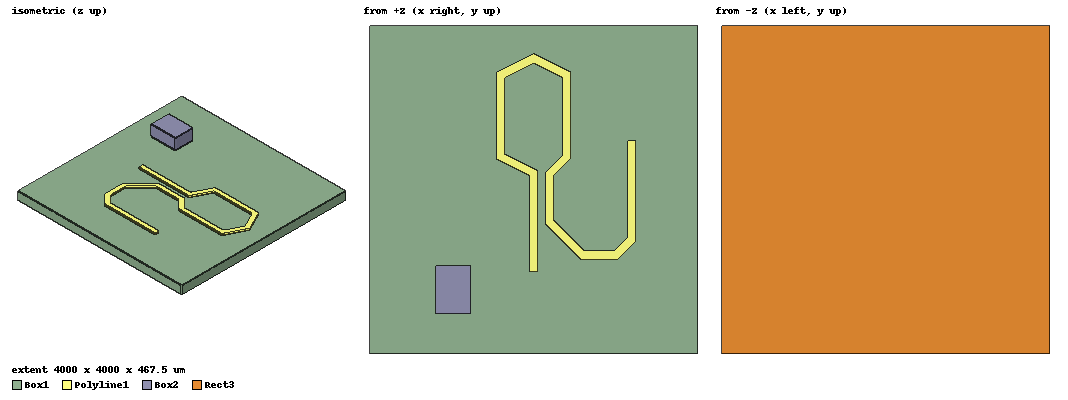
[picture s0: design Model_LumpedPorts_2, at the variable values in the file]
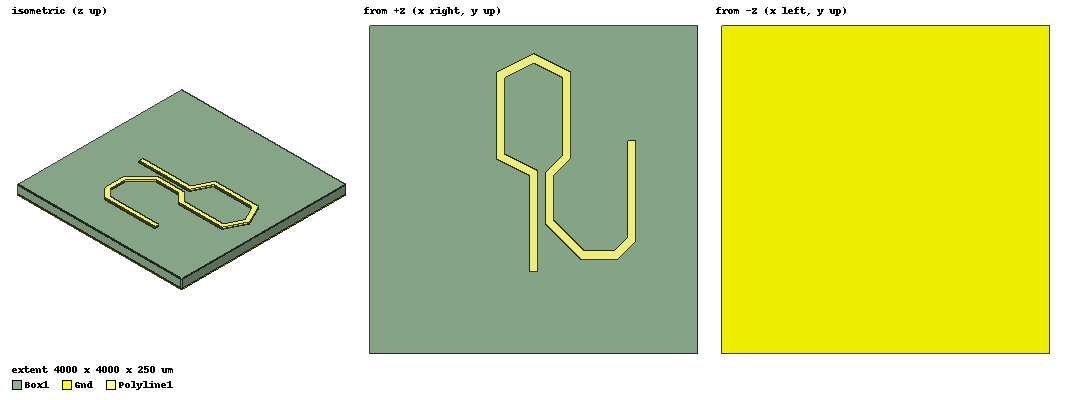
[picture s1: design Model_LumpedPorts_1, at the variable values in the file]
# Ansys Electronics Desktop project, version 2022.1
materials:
  vacuum: permittivity=1
  copper: permeability=0.999991 conductivity=58000000
  FR4_epoxy: permittivity=4.4 dielectric_loss_tangent=0.02
  silver: permeability=0.99998 conductivity=61000000

design Model_LumpedPorts_2 (HFSS, DrivenTerminal, model units um)
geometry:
  Polyline1 [copper] = polyline(z=0um, xy in um: (0, 0) (0, 1200) (-400, 1400) (-400, 2400) (0, 2600) (400, 2400) (400, 1400) (200, 1200) (200, 600) (600, 200) (1000, 200) (1200, 400) (1200, 1600), section rectangle width=100um height=25um)
  Box1 [FR4_epoxy] = box(corner=(2000um, 3000um, -12.5um), size=(-4000um, -4000um, -200um))
  Rect1 = rectangle(corner=(1250um, 1600um, -12.5um), z_size=-200um, x_size=-100um)
  Rect2 = rectangle(corner=(-50um, 0um, -12.5um), z_size=-200um, x_size=100um)
  Rect3 = rectangle(corner=(2000um, -1000um, -212.5um), x_size=-4000um, y_size=4000um)
  Box2 [silver] = box(corner=(-1200um, -515um, 0um), size=(430um, 590um, 255um))
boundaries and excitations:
  PerfE1: Perfect E Objects=Rect3
  reference conductors: Rect3
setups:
  Setup1: HfssDriven Frequency=5GHz MaxDeltaE=0.1 MaximumPasses=6 MinimumPasses=1 MinimumConvergedPasses=1 PercentRefinement=30 BasisOrder=1 DrivenSolverType="Direct Solver"

design Model_LumpedPorts_1 (HFSS, DrivenTerminal, model units um)
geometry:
  Polyline1 [copper] = polyline(z=0um, xy in um: (0, 0) (0, 1200) (-400, 1400) (-400, 2400) (0, 2600) (400, 2400) (400, 1400) (200, 1200) (200, 600) (600, 200) (1000, 200) (1200, 400) (1200, 1600), section rectangle width=100um height=25um)
  Box1 [FR4_epoxy] = box(corner=(2000um, 3000um, -12.5um), size=(-4000um, -4000um, -200um))
  Rectangle1 = rectangle(corner=(1250um, 1600um, -12.5um), z_size=-200um, x_size=-100um)
  Rectangle2 = rectangle(corner=(-50um, 0um, -12.5um), z_size=-200um, x_size=100um)
  Gnd [copper] = box(corner=(2000um, -1000um, -212.5um), size=(-4000um, 4000um, -25um))
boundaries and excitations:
  reference conductors: Gnd
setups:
  Setup1: HfssDriven Frequency=5GHz MaxDeltaE=0.1 MaximumPasses=6 MinimumPasses=1 MinimumConvergedPasses=1 PercentRefinement=30 BasisOrder=1 DrivenSolverType="Direct Solver"
